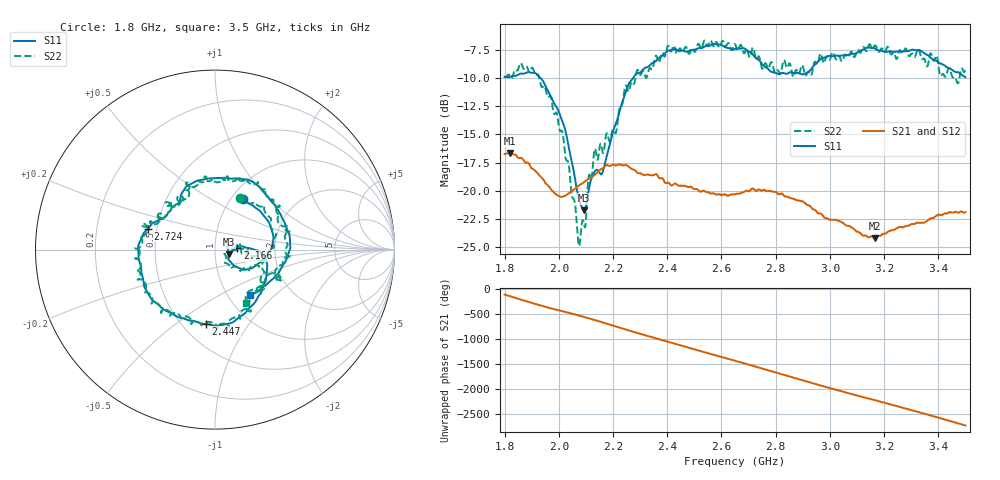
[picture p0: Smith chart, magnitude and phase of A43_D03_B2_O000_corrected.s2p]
! Created with skrf 1.9.0 (http://scikit-rf.org).
# Hz S RI R 50.0
!freq ReS11 ImS11 ReS21 ImS21 ReS12 ImS12 ReS22 ImS22
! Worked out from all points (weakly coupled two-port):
!   1601 points, 1.8 GHz to 3.5 GHz, reference 50 ohm
!   highest |S21| = -16.64 dB at 1.818 GHz (marker M1); lowest = -24.2 dB at 3.165 GHz (marker M2)
!   lowest |S11| = -21.8 dB at 2.092 GHz (marker M3), VSWR 1.18, Z = 58.3 - j3.06 ohm
!   |S11| at or under -10 dB: 1.932 GHz to 2.274 GHz (341.7 MHz wide, 16.2 % of centre)
!   |S22| runs from -24.9 to -6.7 dB; largest |S21 - S12| = 0.0025
!   S11 on the Smith chart (normalised r, x): 1.8 GHz: 1.13, +0.71; 2.166 GHz: 1.29, +0.02; 2.447 GHz: 0.65, -0.65; 2.724 GHz: 0.45, +0.12; 3.5 GHz: 1.26, -0.71
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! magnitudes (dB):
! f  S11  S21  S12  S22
! 1.8 GHz  -9.9  -16.7  -16.8  -9.9
! 1.818 GHz  -9.9  -16.6  -16.7  -9.8
! 1.903 GHz  -9.5  -18.0  -18.0  -9.1
! 1.968 GHz  -11.5  -19.8  -19.8  -11.6
! 2.015 GHz  -14.0  -20.5  -20.5  -14.9
! 2.072 GHz  -20.5  -19.6  -19.6  -24.7
! 2.084 GHz  -21.4  -19.4  -19.4  -23.1
! 2.092 GHz  -21.8  -19.2  -19.3  -22.9
! 2.131 GHz  -18.3  -18.6  -18.6  -16.4
! 2.166 GHz  -18.0  -18.0  -17.9  -16.6
! 2.259 GHz  -10.5  -17.9  -17.9  -11.1
! 2.367 GHz  -8.3  -18.8  -18.7  -8.6
! 2.447 GHz  -7.6  -19.6  -19.6  -7.4
! 2.65 GHz  -7.4  -20.3  -20.3  -7.0
! 2.724 GHz  -8.2  -20.0  -19.9  -8.0
! 2.808 GHz  -9.6  -20.2  -20.2  -9.3
! 2.934 GHz  -9.1  -21.6  -21.5  -9.6
! 3.165 GHz  -7.4  -24.2  -24.2  -7.1
! 3.217 GHz  -7.6  -23.6  -23.6  -7.4
! 3.376 GHz  -8.3  -22.4  -22.4  -7.9
! 3.469 GHz  -9.5  -21.9  -21.9  -10.4
! 3.5 GHz  -9.9  -21.9  -21.9  -9.2
